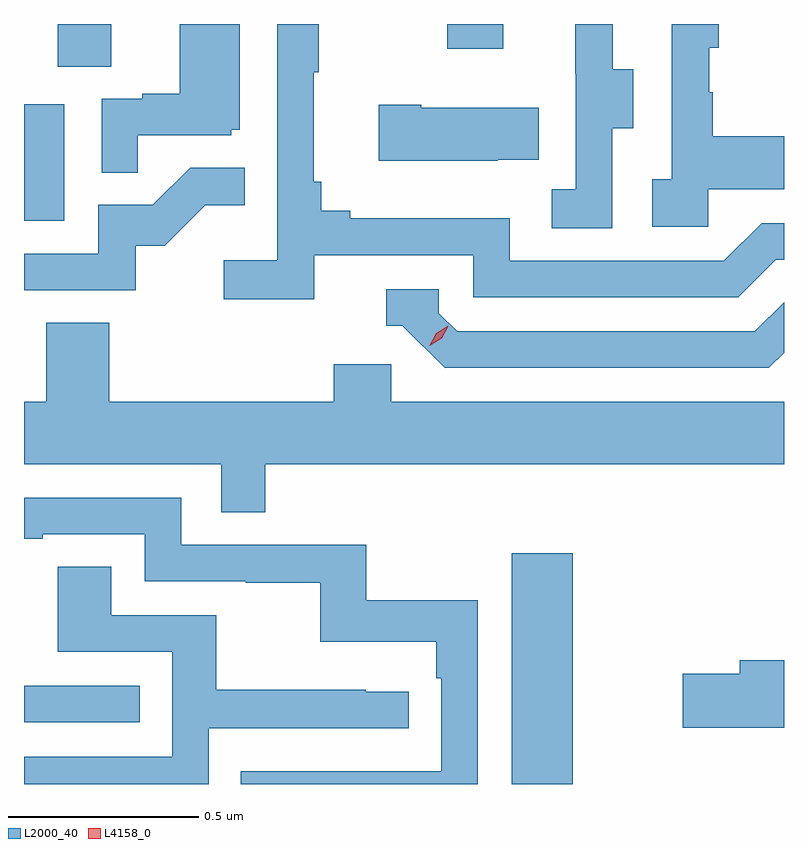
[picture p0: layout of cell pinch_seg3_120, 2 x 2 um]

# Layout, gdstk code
import gdstk
lib = gdstk.Library(unit=1e-6, precision=1e-09)
def R(c, l, rs):  # rectangles x0, y0, x1, y1
    for r in rs: c.add(gdstk.rectangle(r[:2], r[2:], *l))
def P(c, l, *ps):  # polygons
    for p in ps: c.add(gdstk.Polygon(p, *l))
L2000_40 = (2000, 40)
L4158_0 = (4158, 0)

pinch_seg3_120 = lib.new_cell('pinch_seg3_120')
R(pinch_seg3_120, L2000_40, [(1058.657,713.394,1058.818,714.001), (1057.374,713.556,1057.679,713.652), (1057.374,714.876,1057.48,715.183), (1057.463,715.282,1057.603,715.394), (1058.488,715.329,1058.635,715.394)])
P(pinch_seg3_120, L2000_40, [(1058.922,715.12),(1058.977,715.12),(1058.977,715.275),(1058.923,715.275),(1058.923,715.394),(1058.825,715.394),(1058.825,715.263),(1058.826,715.263),(1058.826,714.959),(1058.763,714.959),(1058.763,714.856),(1058.922,714.856)],
  [(1058.138,714.786),(1058.556,714.786),(1058.556,714.675),(1059.253,714.675),(1059.352,714.774),(1059.374,714.774),(1059.374,714.87),(1059.315,714.87),(1059.216,714.771),(1058.652,714.771),(1058.652,714.883),(1058.233,714.883),(1058.233,714.902),(1058.156,714.902),(1058.156,714.979),(1058.137,714.979),(1058.137,715.267),(1058.149,715.267),(1058.149,715.394),(1058.04,715.394),(1058.04,714.772),(1057.899,714.772),(1057.899,714.67),(1058.138,714.67)],
  [(1059.174,714.959),(1059.374,714.959),(1059.374,715.099),(1059.187,715.099),(1059.187,715.214),(1059.177,715.214),(1059.177,715.332),(1059.202,715.332),(1059.202,715.394),(1059.078,715.394),(1059.078,714.986),(1059.027,714.986),(1059.027,714.861),(1059.174,714.861)],
  [(1057.673,715.101),(1057.92,715.101),(1057.92,715.116),(1057.942,715.116),(1057.942,715.394),(1057.784,715.394),(1057.784,715.21),(1057.685,715.21),(1057.685,715.197),(1057.578,715.197),(1057.578,715.003),(1057.673,715.003)],
  [(1058.621,715.037),(1058.729,715.037),(1058.729,715.174),(1058.419,715.174),(1058.419,715.182),(1058.307,715.182),(1058.307,715.034),(1058.621,715.034)],
  [(1057.668,714.81),(1057.744,714.81),(1057.851,714.917),(1057.955,714.917),(1057.955,715.016),(1057.811,715.016),(1057.713,714.918),(1057.569,714.918),(1057.569,714.789),(1057.374,714.789),(1057.374,714.693),(1057.668,714.693)],
  [(1059.374,714.529),(1059.374,714.662),(1059.297,714.585),(1058.514,714.585),(1058.466,714.633),(1058.466,714.696),(1058.327,714.696),(1058.327,714.6),(1058.37,714.6),(1058.481,714.489),(1059.334,714.489)],
  [(1058.009,714.236),(1059.374,714.236),(1059.374,714.4),(1058.34,714.4),(1058.34,714.498),(1058.189,714.498),(1058.189,714.4),(1057.598,714.4),(1057.598,714.608),(1057.433,714.608),(1057.433,714.4),(1057.374,714.4),(1057.374,714.236),(1057.893,714.236),(1057.893,714.109),(1058.009,714.109)],
  [(1058.568,713.878),(1058.275,713.878),(1058.275,714.024),(1057.788,714.024),(1057.788,714.147),(1057.374,714.147),(1057.374,714.039),(1057.423,714.039),(1057.423,714.051),(1057.692,714.051),(1057.692,713.928),(1057.957,713.928),(1057.957,713.923),(1058.154,713.923),(1058.154,713.768),(1058.459,713.768),(1058.459,713.672),(1058.472,713.672),(1058.472,713.427),(1058.159,713.427),(1058.159,713.428),(1057.945,713.428),(1057.945,713.394),(1058.568,713.394)],
  [(1057.86,713.541),(1058.386,713.541),(1058.386,713.637),(1058.273,713.637),(1058.273,713.642),(1057.88,713.642),(1057.88,713.838),(1057.603,713.838),(1057.603,713.966),(1057.463,713.966),(1057.463,713.742),(1057.764,713.742),(1057.764,713.466),(1057.374,713.466),(1057.374,713.394),(1057.86,713.394)],
  [(1059.374,713.72),(1059.257,713.72),(1059.257,713.684),(1059.108,713.684),(1059.108,713.542),(1059.374,713.542)])
P(pinch_seg3_120, L4158_0, [(1058.442,714.547),(1058.442,714.548),(1058.459,714.58),(1058.49,714.6),(1058.49,714.6),(1058.49,714.599),(1058.473,714.567),(1058.442,714.547)])

lib.write_gds('pinch_seg3_120.gds')
